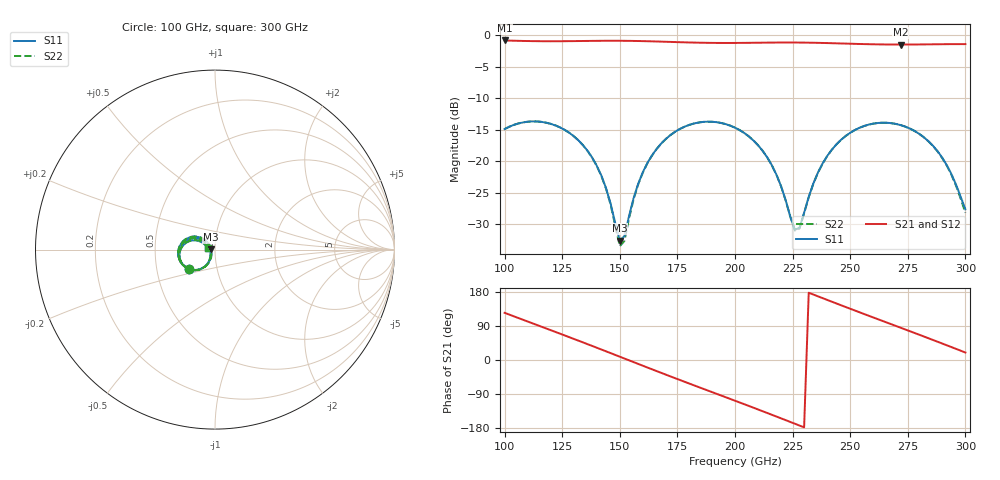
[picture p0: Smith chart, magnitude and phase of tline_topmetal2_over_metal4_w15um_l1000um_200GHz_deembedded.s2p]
! Created with skrf 2.2.0 (http://scikit-rf.org).
# GHz S DB R 50.0
! Port[1] = P1
! Port[2] = P2
!freq dBS11 angS11 dBS21 angS21 dBS12 angS12 dBS22 angS22
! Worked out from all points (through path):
!   101 points, 100 GHz to 300 GHz, reference 50 ohm
!   highest |S21| = -0.86 dB at 100 GHz (marker M1); lowest = -1.5 dB at 272 GHz (marker M2)
!   group delay of S21, straight-line fit = 6.46 ps
!   lowest |S11| = -32.6 dB at 150 GHz (marker M3), VSWR 1.05, Z = 47.7 + j0.0978 ohm
!   |S11| at or under -10 dB: start of sweep to end of sweep
!   |S22| runs from -33.5 to -13.7 dB; largest |S21 - S12| = 1e-13
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100  -14.90 -143.2  -0.86 124.5  -0.86 124.5  -14.90 -143.6
116  -13.76 -176.8  -0.98 87.9  -0.98 87.9  -13.76 -177.3
134  -17.44 147.6  -0.94 46.5  -0.94 46.5  -17.45 146.6
144  -24.22 137.2  -0.91 22.9  -0.91 22.9  -24.32 135.1
150  -32.56 177.5  -0.91 8.7  -0.91 8.7  -33.45 175.5
152  -31.85 -145.9  -0.92 3.9  -0.92 3.9  -32.63 -143.5
156  -25.81 -118.2  -0.93 -5.6  -0.93 -5.6  -26.00 -115.8
160  -21.72 -116.9  -0.96 -15.1  -0.96 -15.1  -21.80 -115.3
168  -17.17 -127.9  -1.04 -34.0  -1.04 -34.0  -17.20 -127.1
184  -13.87 -159.0  -1.21 -70.9  -1.21 -70.9  -13.87 -158.5
200  -14.68 169.3  -1.25 -107.4  -1.25 -107.4  -14.67 169.6
216  -20.64 143.8  -1.20 -144.6  -1.20 -144.6  -20.64 143.8
226  -30.86 -179.0  -1.19 -168.2  -1.19 -168.2  -30.97 -179.2
228  -30.52 -149.5  -1.19 -173.0  -1.19 -173.0  -30.65 -149.3
234  -23.52 -118.1  -1.22 172.8  -1.22 172.8  -23.56 -117.7
240  -19.17 -121.1  -1.27 158.6  -1.27 158.6  -19.19 -120.8
248  -16.00 -133.6  -1.35 139.9  -1.35 139.9  -16.01 -133.5
258  -14.19 -152.3  -1.45 116.9  -1.45 116.9  -14.20 -152.3
268  -13.97 -171.5  -1.50 94.1  -1.50 94.1  -13.98 -171.6
272  -14.27 -179.0  -1.51 84.9  -1.51 84.9  -14.28 -179.2
288  -18.44 154.6  -1.46 48.0  -1.46 48.0  -18.49 153.7
300  -27.62 170.2  -1.44 19.7  -1.44 19.7  -28.16 168.1
